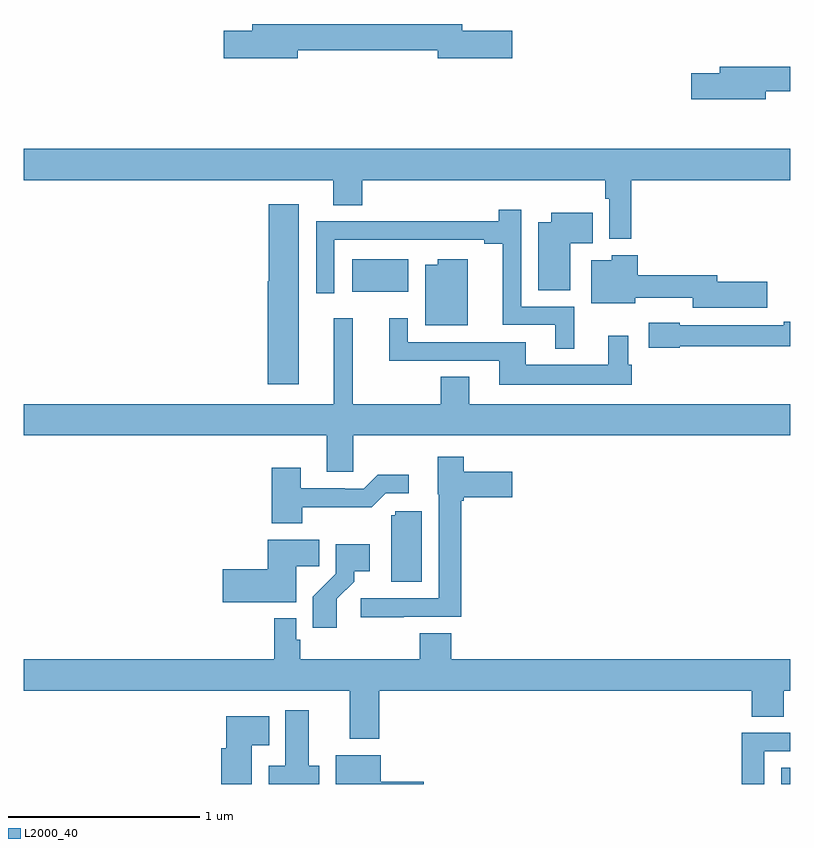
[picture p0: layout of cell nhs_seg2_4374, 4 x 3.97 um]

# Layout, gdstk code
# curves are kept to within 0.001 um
import gdstk
lib = gdstk.Library(unit=1e-6, precision=1e-09)
def R(c, l, rs):  # rectangles x0, y0, x1, y1
    for r in rs: c.add(gdstk.rectangle(r[:2], r[2:], *l))
def P(c, l, *ps):  # polygons
    for p in ps: c.add(gdstk.Polygon(p, *l))
L2000_40 = (2000, 40)

nhs_seg2_4374 = lib.new_cell('nhs_seg2_4374')
R(nhs_seg2_4374, L2000_40, [(350.954,661.8,351,661.886), (348.713,664.37,349.006,664.54)])
P(nhs_seg2_4374, L2000_40, [(348.43,665.632),(349.16,665.632),(349.16,665.59),(349.549,665.59),(349.549,665.732),(349.288,665.732),(349.288,665.768),(348.191,665.768),(348.191,665.732),(348.042,665.732),(348.042,665.59),(348.43,665.59)],
  [(350.872,665.418),(351,665.418),(351,665.546),(350.633,665.546),(350.633,665.51),(350.484,665.51),(350.484,665.375),(350.872,665.375)],
  [(350.171,664.952),(351,664.952),(351,665.116),(347,665.116),(347,664.952),(348.614,664.952),(348.614,664.822),(348.767,664.822),(348.767,664.952),(350.035,664.952),(350.035,664.856),(350.055,664.856),(350.055,664.646),(350.171,664.646)],
  [(348.436,664.828),(348.278,664.828),(348.278,664.425),(348.272,664.425),(348.272,663.888),(348.436,663.888)],
  [(349.873,664.293),(349.596,664.293),(349.596,664.798),(349.48,664.798),(349.48,664.739),(348.85,664.739),(348.85,664.737),(348.525,664.737),(348.525,664.362),(348.621,664.362),(348.621,664.641),(349.403,664.641),(349.403,664.621),(349.499,664.621),(349.499,664.197),(349.775,664.197),(349.775,664.073),(349.873,664.073)],
  [(349.852,664.622),(349.97,664.622),(349.97,664.783),(349.754,664.783),(349.754,664.732),(349.685,664.732),(349.685,664.378),(349.852,664.378)],
  [(350.881,664.421),(350.62,664.421),(350.62,664.457),(350.204,664.457),(350.204,664.561),(350.07,664.561),(350.07,664.534),(349.961,664.534),(349.961,664.31),(350.191,664.31),(350.191,664.34),(350.492,664.34),(350.492,664.286),(350.881,664.286)],
  [(349.318,664.54),(349.16,664.54),(349.16,664.51),(349.094,664.51),(349.094,664.196),(349.318,664.196)],
  [(348.716,664.231),(348.617,664.231),(348.617,663.784),(347,663.784),(347,663.62),(348.581,663.62),(348.581,663.43),(348.72,663.43),(348.72,663.62),(351,663.62),(351,663.784),(349.324,663.784),(349.324,663.926),(349.177,663.926),(349.177,663.784),(348.716,663.784)],
  [(350.173,663.989),(350.155,663.989),(350.155,664.141),(350.051,664.141),(350.051,663.988),(349.621,663.988),(349.621,664.107),(349.005,664.107),(349.005,664.231),(348.908,664.231),(348.908,664.011),(349.481,664.011),(349.481,663.884),(350.173,663.884)],
  [(350.424,664.086),(351,664.086),(351,664.214),(350.968,664.214),(350.968,664.194),(350.424,664.194),(350.424,664.207),(350.262,664.207),(350.262,664.078),(350.424,664.078)],
  [(348.983,662.673),(349.283,662.673),(349.283,663.278),(349.296,663.278),(349.296,663.296),(349.549,663.296),(349.549,663.43),(349.296,663.43),(349.296,663.508),(349.16,663.508),(349.16,663.312),(349.167,663.312),(349.167,662.769),(348.759,662.769),(348.759,662.671),(348.983,662.671)],
  [(348.453,663.246),(348.815,663.245),(348.888,663.318),(349.009,663.318),(349.009,663.415),(348.847,663.415),(348.774,663.342),(348.674,663.342),(348.674,663.345),(348.445,663.345),(348.445,663.451),(348.293,663.451),(348.293,663.161),(348.453,663.161)],
  [(349.078,663.225),(348.939,663.225),(348.939,663.204),(348.917,663.204),(348.917,662.856),(349.078,662.856)],
  [(348.421,662.938),(348.542,662.938),(348.542,663.076),(348.272,663.076),(348.272,662.921),(348.039,662.921),(348.039,662.75),(348.421,662.75)],
  [(348.634,662.767),(348.724,662.857),(348.724,662.912),(348.805,662.912),(348.805,663.052),(348.627,663.052),(348.627,662.897),(348.508,662.778),(348.508,662.616),(348.634,662.616)],
  [(348.854,662.288),(350.801,662.288),(350.801,662.152),(350.966,662.152),(350.966,662.288),(351,662.288),(351,662.452),(349.232,662.452),(349.232,662.588),(349.067,662.588),(349.067,662.452),(348.443,662.452),(348.443,662.553),(348.423,662.553),(348.423,662.665),(348.307,662.665),(348.307,662.452),(347,662.452),(347,662.288),(348.701,662.288),(348.701,662.036),(348.854,662.036)],
  [(348.541,661.894),(348.487,661.894),(348.487,662.185),(348.365,662.185),(348.365,661.894),(348.278,661.894),(348.278,661.8),(348.541,661.8)],
  [(348.19,662.003),(348.28,662.003),(348.28,662.155),(348.056,662.155),(348.056,661.987),(348.029,661.987),(348.029,661.8),(348.19,661.8)],
  [(350.865,661.971),(351,661.971),(351,662.067),(350.749,662.067),(350.749,661.8),(350.865,661.8)],
  [(349.087,661.812),(348.862,661.812),(348.862,661.951),(348.629,661.951),(348.629,661.8),(349.087,661.8)])

lib.write_gds('nhs_seg2_4374.gds')
